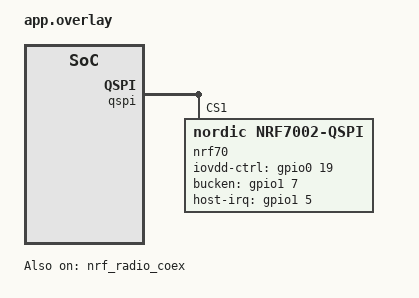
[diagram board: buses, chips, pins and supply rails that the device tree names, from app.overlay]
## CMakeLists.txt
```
#
# Copyright (c) 2022 Nordic Semiconductor ASA
#
# SPDX-License-Identifier: LicenseRef-Nordic-5-Clause
#

cmake_minimum_required(VERSION 3.20.0)

find_package(Zephyr REQUIRED HINTS $ENV{ZEPHYR_BASE})
project(nrf_wifi_sta)

target_include_directories(app PUBLIC ${ZEPHYR_BASE}/subsys/net/ip)

# Generate hex files from pem files
set(gen_dir ${CMAKE_CURRENT_BINARY_DIR}/certs)
zephyr_include_directories(${gen_dir})
generate_inc_file_for_target(
    app
    cert/DigiCertGlobalG3.pem
    ${gen_dir}/DigiCertGlobalG3.pem.inc
    )

target_sources(app PRIVATE
	src/main.c
	src/wifi/wifi_sta.c
	src/wifi/http_app.c
	# Future sensor and BLE files will be added here
	# src/sensors/sensor_fsm.c
	# src/sensors/sensor_data.c
	# src/ble/ble_service.c
	# src/ble/ble_advertising.c
	# src/common/data_manager.c
)
```

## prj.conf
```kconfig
#
# Copyright (c) 2022 Nordic Semiconductor ASA
#
# SPDX-License-Identifier: LicenseRef-Nordic-5-Clause
#
CONFIG_WIFI=y
CONFIG_WIFI_NRF70=y
CONFIG_LOG=y
CONFIG_WIFI_LOG_LEVEL_DBG=y
CONFIG_CLOCK_CONTROL=y
CONFIG_CLOCK_CONTROL_NRF=y
CONFIG_CLOCK_CONTROL_NRF_K32SRC_RC=y
CONFIG_CLOCK_CONTROL_NRF_K32SRC_RC_CALIBRATION=y
CONFIG_CLOCK_CONTROL_NRF_K32SRC_500PPM=y
# CONFIG_CLOCK_CONTROL_NRF_K32SRC_RC=y
# WPA supplicant
CONFIG_WIFI_NM_WPA_SUPPLICANT=y
CONFIG_WIFI_READY_LIB=y
CONFIG_NRF_WIFI_RPU_RECOVERY=y

CONFIG_WIFI_CREDENTIALS=y
CONFIG_WIFI_CREDENTIALS_STATIC=y
CONFIG_WIFI_CREDENTIALS_STATIC_SSID="iPhone"
CONFIG_WIFI_CREDENTIALS_STATIC_PASSWORD="12345678"

# Networking
CONFIG_NETWORKING=y
CONFIG_NET_SOCKETS=y
CONFIG_NET_LOG=y
CONFIG_NET_IPV4=y
CONFIG_NET_UDP=y
CONFIG_NET_TCP=y
CONFIG_NET_DHCPV4=y

CONFIG_NET_PKT_RX_COUNT=16
CONFIG_NET_PKT_TX_COUNT=16
CONFIG_NRF70_RX_NUM_BUFS=16

# Below section is the primary contributor to SRAM and is currently
# tuned for performance, but this will be revisited in the future.
CONFIG_NET_BUF_RX_COUNT=16
CONFIG_NET_BUF_TX_COUNT=32

CONFIG_NET_PKT_TX_COUNT=14
CONFIG_NET_PKT_RX_COUNT=14
CONFIG_NET_TX_STACK_SIZE=4096
CONFIG_NET_RX_STACK_SIZE=4096
CONFIG_HEAP_MEM_POOL_SIZE=37000
CONFIG_HEAP_MEM_POOL_IGNORE_MIN=y
CONFIG_NRF_WIFI_CTRL_HEAP_SIZE=20000
CONFIG_NRF_WIFI_DATA_HEAP_SIZE=40000
CONFIG_NET_TC_TX_COUNT=1

CONFIG_NET_IF_UNICAST_IPV4_ADDR_COUNT=1
CONFIG_NET_MAX_CONTEXTS=5
CONFIG_NET_CONTEXT_SYNC_RECV=y

CONFIG_INIT_STACKS=y

CONFIG_NET_L2_ETHERNET=y

CONFIG_NET_CONFIG_SETTINGS=y
CONFIG_NET_CONFIG_INIT_TIMEOUT=0

CONFIG_NET_SOCKETS_POLL_MAX=10

# Memories
CONFIG_MAIN_STACK_SIZE=30720
CONFIG_NET_TX_STACK_SIZE=4096
CONFIG_NET_RX_STACK_SIZE=4096
CONFIG_STA_SAMPLE_START_WIFI_THREAD_STACK_SIZE=30720

# Debugging
CONFIG_STACK_SENTINEL=y
CONFIG_DEBUG_COREDUMP=y
CONFIG_DEBUG_COREDUMP_BACKEND_LOGGING=y
CONFIG_DEBUG_COREDUMP_MEMORY_DUMP_MIN=y
CONFIG_SHELL_CMDS_RESIZE=n


# Kernel options
CONFIG_ENTROPY_GENERATOR=y

# Logging
CONFIG_LOG=y
CONFIG_LOG_BUFFER_SIZE=4096
CONFIG_POSIX_TIMERS=y

CONFIG_NET_CONFIG_MY_IPV4_ADDR="192.168.1.99"
CONFIG_NET_CONFIG_MY_IPV4_NETMASK="255.255.255.0"
CONFIG_NET_CONFIG_MY_IPV4_GW="192.168.1.1"

# printing of scan results puts pressure on queues in new locking
# design in net_mgmt. So, use a higher timeout for a crowded
# environment.
CONFIG_NET_MGMT_EVENT_QUEUE_TIMEOUT=5000


CONFIG_POSIX_API=y
CONFIG_NET_IPV4=y
CONFIG_NET_IPV6=y

CONFIG_NET_SOCKETS_SOCKOPT_TLS=y

CONFIG_TLS_CREDENTIALS=y
CONFIG_MBEDTLS=y
CONFIG_MBEDTLS_TLS_VERSION_1_3=y

CONFIG_MBEDTLS_SSL_CLI_C=y
CONFIG_MBEDTLS_X509_CRT_PARSE_C=y
CONFIG_MBEDTLS_X509_USE_C=y
CONFIG_NET_SOCKETS_ENABLE_DTLS=n


CONFIG_MBEDTLS_ENABLE_HEAP=y
CONFIG_MBEDTLS_SSL_IN_CONTENT_LEN=8192
CONFIG_MBEDTLS_SSL_OUT_CONTENT_LEN=8192
CONFIG_MBEDTLS_SSL_SERVER_NAME_INDICATION=y
CONFIG_MBEDTLS_HEAP_SIZE=32768
CONFIG_MBEDTLS_RSA_C=y
CONFIG_MBEDTLS_TLS_LIBRARY=y
CONFIG_MBEDTLS_X509_LIBRARY=y
CONFIG_MBEDTLS_PKCS1_V15=y
# CONFIG_NORDIC_SECURITY_BACKEND=y
# CONFIG_PSA_CRYPTO_DRIVER_CC3XX=y
CONFIG_PSA_WANT_ALG_SHA_1=y

CONFIG_PSA_WANT_ALG_RSA_PKCS1V15_CRYPT=y
CONFIG_PSA_WANT_ALG_RSA_PKCS1V15_SIGN=y
CONFIG_PSA_WANT_KEY_TYPE_RSA_PUBLIC_KEY=y
CONFIG_PSA_WANT_ECC_SECP_R1_384=y


# DNS
CONFIG_DNS_RESOLVER=y
CONFIG_DNS_RESOLVER_ADDITIONAL_QUERIES=2

# HTTP
CONFIG_HTTP_CLIENT=y
```

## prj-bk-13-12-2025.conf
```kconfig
#
# Copyright (c) 2022 Nordic Semiconductor ASA
#
# SPDX-License-Identifier: LicenseRef-Nordic-5-Clause
#



CONFIG_WIFI=y
CONFIG_WIFI_NRF70=y
CONFIG_CLOCK_CONTROL_NRF_K32SRC_RC=y

# WPA supplicant
CONFIG_WIFI_NM_WPA_SUPPLICANT=y
CONFIG_WIFI_READY_LIB=y
CONFIG_NRF_WIFI_RPU_RECOVERY=y

CONFIG_WIFI_CREDENTIALS=y
CONFIG_WIFI_CREDENTIALS_STATIC=y
CONFIG_WIFI_CREDENTIALS_STATIC_SSID="MyPi"
CONFIG_WIFI_CREDENTIALS_STATIC_PASSWORD="abcd1234"

# Networking
CONFIG_NETWORKING=y
CONFIG_NET_SOCKETS=y
CONFIG_NET_LOG=y
CONFIG_NET_IPV4=y
CONFIG_NET_UDP=y
CONFIG_NET_TCP=y
CONFIG_NET_DHCPV4=y


CONFIG_NRF70_RX_NUM_BUFS=16

# Below section is the primary contributor to SRAM and is currently
# tuned for performance, but this will be revisited in the future.
CONFIG_NET_BUF_RX_COUNT=8
CONFIG_NET_BUF_TX_COUNT=16

CONFIG_NET_PKT_TX_COUNT=4
CONFIG_NET_PKT_RX_COUNT=4
CONFIG_NET_TX_STACK_SIZE=4096
CONFIG_NET_RX_STACK_SIZE=4096
CONFIG_HEAP_MEM_POOL_SIZE=37000
CONFIG_HEAP_MEM_POOL_IGNORE_MIN=y
CONFIG_NRF_WIFI_CTRL_HEAP_SIZE=20000
CONFIG_NRF_WIFI_DATA_HEAP_SIZE=30000
CONFIG_NET_TC_TX_COUNT=1

CONFIG_NET_IF_UNICAST_IPV4_ADDR_COUNT=1
CONFIG_NET_MAX_CONTEXTS=10
CONFIG_NET_CONTEXT_SYNC_RECV=y

CONFIG_INIT_STACKS=y

CONFIG_NET_L2_ETHERNET=y

CONFIG_NET_CONFIG_SETTINGS=y
CONFIG_NET_CONFIG_INIT_TIMEOUT=0

CONFIG_NET_SOCKETS_POLL_MAX=10

# Memories
CONFIG_MAIN_STACK_SIZE=8192
CONFIG_NET_TX_STACK_SIZE=4096
CONFIG_NET_RX_STACK_SIZE=4096
CONFIG_STA_SAMPLE_START_WIFI_THREAD_STACK_SIZE=8192

# Debugging
CONFIG_STACK_SENTINEL=y
CONFIG_DEBUG_COREDUMP=y
CONFIG_DEBUG_COREDUMP_BACKEND_LOGGING=y
CONFIG_DEBUG_COREDUMP_MEMORY_DUMP_MIN=y
CONFIG_SHELL_CMDS_RESIZE=n


# Kernel options
CONFIG_ENTROPY_GENERATOR=y

# Logging
CONFIG_LOG=y
CONFIG_LOG_BUFFER_SIZE=2048
CONFIG_POSIX_TIMERS=y

CONFIG_NET_CONFIG_MY_IPV4_ADDR="192.168.1.99"
CONFIG_NET_CONFIG_MY_IPV4_NETMASK="255.255.255.0"
CONFIG_NET_CONFIG_MY_IPV4_GW="192.168.1.1"

# printing of scan results puts pressure on queues in new locking
# design in net_mgmt. So, use a higher timeout for a crowded
# environment.
CONFIG_NET_MGMT_EVENT_QUEUE_TIMEOUT=5000


CONFIG_POSIX_API=y
CONFIG_NET_IPV4=y
CONFIG_NET_IPV6=n

CONFIG_NET_SOCKETS_SOCKOPT_TLS=y

CONFIG_TLS_CREDENTIALS=y
CONFIG_MBEDTLS=y
CONFIG_MBEDTLS_TLS_VERSION_1_3=y

CONFIG_MBEDTLS_SSL_CLI_C=y
CONFIG_MBEDTLS_X509_CRT_PARSE_C=y
CONFIG_MBEDTLS_X509_USE_C=y
CONFIG_NET_SOCKETS_ENABLE_DTLS=n

CONFIG_MBEDTLS_ENABLE_HEAP=y
CONFIG_MBEDTLS_SSL_IN_CONTENT_LEN=2048
CONFIG_MBEDTLS_SSL_OUT_CONTENT_LEN=2048
CONFIG_MBEDTLS_SSL_SERVER_NAME_INDICATION=y
CONFIG_MBEDTLS_HEAP_SIZE=8192
CONFIG_MBEDTLS_RSA_C=y
CONFIG_MBEDTLS_TLS_LIBRARY=y
CONFIG_MBEDTLS_X509_LIBRARY=y
CONFIG_MBEDTLS_PKCS1_V15=y
# CONFIG_NORDIC_SECURITY_BACKEND=y
# CONFIG_PSA_CRYPTO_DRIVER_CC3XX=y
CONFIG_PSA_WANT_ALG_SHA_1=y

CONFIG_PSA_WANT_ALG_RSA_PKCS1V15_CRYPT=y
CONFIG_PSA_WANT_ALG_RSA_PKCS1V15_SIGN=y
CONFIG_PSA_WANT_KEY_TYPE_RSA_PUBLIC_KEY=y
CONFIG_PSA_WANT_ECC_SECP_R1_384=y


# DNS
CONFIG_DNS_RESOLVER=y
CONFIG_DNS_RESOLVER_ADDITIONAL_QUERIES=2

# HTTP
CONFIG_HTTP_CLIENT=y
```

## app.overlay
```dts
/{
	chosen {
		zephyr,wifi = &wlan0;
	};

	/delete-node/ aliases;
	/delete-node/ buttons;
	/delete-node/ leds;
};


&pinctrl {
	uart0_default: uart0_default {
		group1 {
			psels = <NRF_PSEL(UART_TX, 0, 9)>,
				<NRF_PSEL(UART_RTS, 0, 1)>;
		};

		group2 {
			psels = <NRF_PSEL(UART_RX, 0, 8)>,
				<NRF_PSEL(UART_CTS, 0, 0)>;
			bias-pull-up;
		};
	};
};


&nrf_radio_coex{
		status = "okay";
		// compatible = "nordic,nrf7002-coex";
		req-gpios = <&gpio0 22 GPIO_ACTIVE_HIGH>;
		status0-gpios = <&gpio0 20 GPIO_ACTIVE_HIGH>;
		grant-gpios = <&gpio1 4 (GPIO_PULL_DOWN | GPIO_ACTIVE_LOW)>;
		// swctrl1-gpios = <&gpio1 6 GPIO_ACTIVE_HIGH>;
	};

&qspi {
	status = "okay";
	nrf70: nrf7002@1 {
		compatible = "nordic,nrf7002-qspi";
		status = "okay";
		reg = <1>;
		qspi-frequency = <24000000>;
		qspi-quad-mode;

		// #include "nrf70_common.dtsi"
		// #include "nrf70_common_5g.dtsi"
		iovdd-power-up-delay-ms = <1>;

		wifi-max-tx-pwr-5g-low-mcs0 = <9>;
		wifi-max-tx-pwr-5g-low-mcs7 = <9>;
		wifi-max-tx-pwr-5g-mid-mcs0 = <11>;
		wifi-max-tx-pwr-5g-mid-mcs7 = <11>;
		wifi-max-tx-pwr-5g-high-mcs0 = <13>;
		wifi-max-tx-pwr-5g-high-mcs7 = <13>;

		iovdd-ctrl-gpios = <&gpio0 19 GPIO_ACTIVE_HIGH>;
		bucken-gpios = <&gpio1 7 GPIO_ACTIVE_HIGH>;
		host-irq-gpios = <&gpio1 5 GPIO_ACTIVE_HIGH>;
		// srrf-switch-gpios = <&gpio0 23 GPIO_ACTIVE_HIGH>;

		wifi-max-tx-pwr-2g-dsss = <21>;
		wifi-max-tx-pwr-2g-mcs0 = <16>;
		wifi-max-tx-pwr-2g-mcs7 = <16>;

		wlan0: wlan {
			compatible = "nordic,wlan";
		};
	};
};


// &spi4 {
//     compatible = "nordic,nrf-spim";
//     status = "okay";
//     pinctrl-0 = <&spi4_default>;
// 	pinctrl-names = "default","sleep";
// 	cs-gpios = <&gpio0 18 GPIO_ACTIVE_LOW>;

//     /* Chip select pin */
   
//     nrf70: nrf7002@1 {
//         compatible = "nordic,nrf7002-spi";
//         reg = <1>;                    /* CS index */
//         spi-max-frequency = <24000000>; /* 8 MHz */
//         status = "okay";

//         // iovdd-ctrl-gpios = <&gpio1 5 GPIO_ACTIVE_HIGH>;
//         // bucken-gpios = <&gpio1 1 GPIO_ACTIVE_HIGH>;
//         // host-irq-gpios = <&gpio1 6 GPIO_ACTIVE_HIGH>;
//         // srrf-switch-gpios = <&gpio1 10 GPIO_ACTIVE_HIGH>;

//         iovdd-power-up-delay-ms = <1>;

// 		wifi-max-tx-pwr-5g-low-mcs0 = <9>;
// 		wifi-max-tx-pwr-5g-low-mcs7 = <9>;
// 		wifi-max-tx-pwr-5g-mid-mcs0 = <11>;
// 		wifi-max-tx-pwr-5g-mid-mcs7 = <11>;
// 		wifi-max-tx-pwr-5g-high-mcs0 = <13>;
// 		wifi-max-tx-pwr-5g-high-mcs7 = <13>;

// 		iovdd-ctrl-gpios = <&gpio0 19 GPIO_ACTIVE_HIGH>;
// 		bucken-gpios = <&gpio1 7 GPIO_ACTIVE_HIGH>;
// 		host-irq-gpios = <&gpio1 5 GPIO_ACTIVE_HIGH>;
// 		srrf-switch-gpios = <&gpio0 23 GPIO_ACTIVE_HIGH>;

// 		wifi-max-tx-pwr-2g-dsss = <21>;
// 		wifi-max-tx-pwr-2g-mcs0 = <16>;
// 		wifi-max-tx-pwr-2g-mcs7 = <16>;

// 		wlan0: wlan {
// 			compatible = "nordic,wlan";
// 		};

// 	};
// };
```

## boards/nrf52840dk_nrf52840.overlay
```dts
/ {
	chosen {
		zephyr,wifi = &wlan0;
	};
};

// &qspi {
// 	status = "okay";
// 	nrf70: nrf7002@0 {
// 		compatible = "nordic,nrf7002-qspi";
// 		status = "okay";
// 		reg = <0>;
// 		qspi-frequency = <24000000>;
// 		qspi-quad-mode;

//         /* Control signals - adjust pins as per wiring */
//         // iovdd-ctrl-gpios = <&gpio0 5 GPIO_ACTIVE_HIGH>;
//         // bucken-gpios     = <&gpio0 6 GPIO_ACTIVE_HIGH>;
//         // host-irq-gpios   = <&gpio0 11 GPIO_ACTIVE_HIGH>;

//         iovdd-power-up-delay-ms = <1>;
//         #include "nrf70_common.dtsi"
// 		#include "nrf70_common_5g.dtsi"
        
       

//     };
// };


&spi1 {
    compatible = "nordic,nrf-spi";
    status = "okay";
    pinctrl-0 = <&spi0_default>;

    /* Chip select pin */
    cs-gpios = <&gpio0 2 GPIO_ACTIVE_LOW>;
    nrf70: nrf7002@0 {
        compatible = "nordic,nrf7002-spi";
        reg = <0>;                    /* CS index */
        spi-max-frequency = <24000000>; /* 8 MHz */
        status = "okay";

        iovdd-ctrl-gpios = <&gpio1 5 GPIO_ACTIVE_HIGH>;
        bucken-gpios = <&gpio1 1 GPIO_ACTIVE_HIGH>;
        host-irq-gpios = <&gpio1 6 GPIO_ACTIVE_HIGH>;
        srrf-switch-gpios = <&gpio1 10 GPIO_ACTIVE_HIGH>;

        iovdd-power-up-delay-ms = <1>;

        #include "nrf70_common.dtsi"
        #include "nrf70_common_5g.dtsi"
    };
};

// wlan0: wlan {
// 	compatible = "nordic,wlan";
// };

&usbd {
	status = "disabled";
};
```

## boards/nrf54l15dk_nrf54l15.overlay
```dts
/ {
	chosen {
		zephyr,wifi = &wlan0;
	};
};

&pinctrl{
spi22_default: spi22_default {
		group1 {
			psels = <NRF_PSEL(SPIM_SCK, 2, 1)>,
				<NRF_PSEL(SPIM_MOSI, 2, 2)>,
				<NRF_PSEL(SPIM_MISO, 2, 4)>;
		};
	};
};

&wifi_spi {
	status = "okay";
	pinctrl-0 = <&spi22_default>;
	pinctrl-names= "default";
    nrf70: nrf7002@0 {
        compatible = "nordic,nrf7002-spi";
        reg = <0>;                    /* CS index */
        spi-max-frequency = <24000000>; /* 8 MHz */
        status = "okay";

        iovdd-ctrl-gpios = <&gpio1 5 GPIO_ACTIVE_HIGH>;
        bucken-gpios = <&gpio1 1 GPIO_ACTIVE_HIGH>;
        host-irq-gpios = <&gpio1 6 GPIO_ACTIVE_HIGH>;
        srrf-switch-gpios = <&gpio1 10 GPIO_ACTIVE_HIGH>;

        iovdd-power-up-delay-ms = <1>;

        #include "nrf70_common.dtsi"
        #include "nrf70_common_5g.dtsi"
    };
};

// &wifi_spi{
//     /* Chip select pin */
//     cs-gpios = <&gpio0 2 GPIO_ACTIVE_LOW>;
//     nrf70: nrf7002@0 {
//         compatible = "nordic,nrf7002-spi";
//         reg = <0>;                    /* CS index */
//         spi-max-frequency = <24000000>; /* 8 MHz */
//         status = "okay";

//         iovdd-ctrl-gpios = <&gpio1 5 GPIO_ACTIVE_HIGH>;
//         bucken-gpios = <&gpio1 1 GPIO_ACTIVE_HIGH>;
//         host-irq-gpios = <&gpio1 6 GPIO_ACTIVE_HIGH>;
//         srrf-switch-gpios = <&gpio1 10 GPIO_ACTIVE_HIGH>;

//         iovdd-power-up-delay-ms = <1>;

//         #include "nrf70_common.dtsi"
//         #include "nrf70_common_5g.dtsi"
//     };
// };
```

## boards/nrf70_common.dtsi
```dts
/*
 * Copyright (c) 2024 Nordic Semiconductor ASA
 *
 * SPDX-License-Identifier: Apache-2.0
 */

iovdd-ctrl-gpios = <&gpio0 19 GPIO_ACTIVE_HIGH>;
bucken-gpios = <&gpio1 7 GPIO_ACTIVE_HIGH>;
host-irq-gpios = <&gpio1 5 GPIO_ACTIVE_HIGH>;
srrf-switch-gpios = <&gpio0 23 GPIO_ACTIVE_HIGH>;

wifi-max-tx-pwr-2g-dsss = <21>;
wifi-max-tx-pwr-2g-mcs0 = <16>;
wifi-max-tx-pwr-2g-mcs7 = <16>;

wlan0: wlan {
	compatible = "nordic,wlan";
};
```

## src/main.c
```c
/*
 * Copyright (c) 2022 Nordic Semiconductor ASA
 *
 * SPDX-License-Identifier: LicenseRef-Nordic-5-Clause
 */

/** @file
 * @brief HopeWatch Multi-Service Device Main
 */

#include <zephyr/logging/log.h>
LOG_MODULE_REGISTER(main_app, CONFIG_LOG_DEFAULT_LEVEL);

#include <zephyr/kernel.h>
#include <zephyr/sys/printk.h>

#include "wifi/wifi_sta.h"
// #include "sensors/sensor_fsm.h"
// #include "ble/ble_service.h"
// #include "common/data_manager.h"

/* Thread definitions */
K_THREAD_DEFINE(wifi_thread, CONFIG_STA_SAMPLE_START_WIFI_THREAD_STACK_SIZE, 
		wifi_thread_entry, NULL, NULL, NULL, 5, 0, 0);
// K_THREAD_DEFINE(sensor_thread, 2048, sensor_thread_entry, NULL, NULL, NULL, 6, 0, 0);
// K_THREAD_DEFINE(ble_thread, 2048, ble_thread_entry, NULL, NULL, NULL, 7, 0, 0);

int main(void)
{
	printk("==================================================\n");
	printk("HopeWatch Multi-Service Device Starting...\n");
	printk("nRF7002DK - WiFi + Sensor + BLE Integration\n");
	printk("==================================================\n");
	
	/* Initialize subsystems */
	wifi_sta_init();
	// data_manager_init();
	// sensor_fsm_init();
	// ble_service_init();
	
	/* Register data flow callbacks (for future integration) */
	// data_manager_register_wifi_callback(http_app_send_data);
	// data_manager_register_ble_callback(ble_notify_data);
	
	LOG_INF("All subsystems initialized");
	LOG_INF("WiFi Thread will start automatically");
	
	/* Main thread can handle system monitoring or go to sleep */
	while (1) {
		k_sleep(K_SECONDS(10));
		LOG_INF("System running - WiFi connected: %s", got_ip ? "Yes" : "No");
	}
	
	return 0;
}
```

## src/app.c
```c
/*
 * Copyright (c) 2022 Nordic Semiconductor ASA
 *
 * SPDX-License-Identifier: LicenseRef-Nordic-5-Clause
 */

/** @file
 * @brief WiFi station sample
 */

#include <zephyr/logging/log.h>
LOG_MODULE_REGISTER(sta, CONFIG_LOG_DEFAULT_LEVEL);

#include <zephyr/kernel.h>
#include <stdio.h>
#include <stdlib.h>
#include <zephyr/shell/shell.h>
#include <zephyr/sys/printk.h>
#include <zephyr/init.h>

#include <zephyr/net/net_if.h>
#include <zephyr/net/wifi_mgmt.h>
#include <zephyr/net/net_event.h>
#include <zephyr/drivers/gpio.h>
#include <zephyr/net/socket.h>
#include <zephyr/net/tls_credentials.h>
/* STEP 1.2 - Include the header file of the HTTP client library */
#include <zephyr/net/http/client.h>
#ifdef CONFIG_WIFI_READY_LIB
#include <net/wifi_ready.h>
#endif /* CONFIG_WIFI_READY_LIB */

#if defined(CONFIG_BOARD_NRF7002DK_NRF5340_CPUAPP_NRF7001) || \
	defined(CONFIG_BOARD_NRF7002DK_NRF5340_CPUAPP)
#include <zephyr/drivers/wifi/nrf_wifi/bus/qspi_if.h>
#endif

#include "net_private.h"

#include "http_app.h"

#define WIFI_SHELL_MODULE "wifi"

#define WIFI_SHELL_MGMT_EVENTS (NET_EVENT_WIFI_CONNECT_RESULT |		\
				NET_EVENT_WIFI_DISCONNECT_RESULT)

#define MAX_SSID_LEN        32
#define STATUS_POLLING_MS   300

/* 1000 msec = 1 sec */
#define LED_SLEEP_TIME_MS   100

/* The devicetree node identifier for the "led0" alias. */
// #define LED0_NODE DT_ALIAS(led0)
/*
 * A build error on this line means your board is unsupported.
 * See the sample documentation for information on how to fix this.
 */
// static const struct gpio_dt_spec led = GPIO_DT_SPEC_GET(LED0_NODE, gpios);

static struct net_mgmt_event_callback wifi_shell_mgmt_cb;
static struct net_mgmt_event_callback net_shell_mgmt_cb;

#ifdef CONFIG_WIFI_READY_LIB
static K_SEM_DEFINE(wifi_ready_state_changed_sem, 0, 1);
static bool wifi_ready_status;
#endif /* CONFIG_WIFI_READY_LIB */

static struct {
	const struct shell *sh;
	union {
		struct {
			uint8_t connected	: 1;
			uint8_t connect_result	: 1;
			uint8_t disconnect_requested	: 1;
			uint8_t _unused		: 5;
		};
		uint8_t all;
	};
} context;


K_THREAD_DEFINE(start_http_thread_id, 10240,
		start_http_thread, NULL, NULL, NULL,
		7, 0, -1);

//_____________Toggle_LED________________________
void toggle_led(void)
{
	int ret;

	// if (!device_is_ready(led.port)) {
	// 	LOG_ERR("LED device is not ready");
	// 	return;
	// }

	// ret = gpio_pin_configure_dt(&led, GPIO_OUTPUT_ACTIVE);
	// if (ret < 0) {
	// 	LOG_ERR("Error %d: failed to configure LED pin", ret);
	// 	return;
	// }

	while (1) {
		if (context.connected) {
			// gpio_pin_toggle_dt(&led);
			// printk("connected");
			k_msleep(LED_SLEEP_TIME_MS);
		} else {
			// gpio_pin_set_dt(&led, 0);
			// printk("dis connected");
			k_msleep(LED_SLEEP_TIME_MS);
		}
	}
}

// K_THREAD_DEFINE(led_thread_id, 1024, toggle_led, NULL, NULL, NULL,
// 		7, 0, 0);
//_____________Toggle_LED________________________________________________

static int cmd_wifi_status(void)
{
	struct net_if *iface = net_if_get_default();
	struct wifi_iface_status status = { 0 };

	if (net_mgmt(NET_REQUEST_WIFI_IFACE_STATUS, iface, &status,
				sizeof(struct wifi_iface_status))) {
		LOG_INF("Status request failed");

		return -ENOEXEC;
	}

	LOG_INF("==================");
	LOG_INF("State: %s", wifi_state_txt(status.state));

	if (status.state >= WIFI_STATE_ASSOCIATED) {
		uint8_t mac_string_buf[sizeof("xx:xx:xx:xx:xx:xx")];

		LOG_INF("Interface Mode: %s",
		       wifi_mode_txt(status.iface_mode));
		LOG_INF("Link Mode: %s",
		       wifi_link_mode_txt(status.link_mode));
		LOG_INF("SSID: %.32s", status.ssid);
		LOG_INF("BSSID: %s",
		       net_sprint_ll_addr_buf(
				status.bssid, WIFI_MAC_ADDR_LEN,
				mac_string_buf, sizeof(mac_string_buf)));
		LOG_INF("Band: %s", wifi_band_txt(status.band));
		LOG_INF("Channel: %d", status.channel);
		LOG_INF("Security: %s", wifi_security_txt(status.security));
		LOG_INF("MFP: %s", wifi_mfp_txt(status.mfp));
		LOG_INF("RSSI: %d", status.rssi);
	}
	return 0;
}

static void handle_wifi_connect_result(struct net_mgmt_event_callback *cb)
{
	const struct wifi_status *status =
		(const struct wifi_status *) cb->info;

	if (context.connected) {
		return;
	}

	if (status->status) {
		LOG_ERR("Connection failed (%d)", status->status);
	} else {
		LOG_INF("Connected");
		context.connected = true;
		
	}

	context.connect_result = true;
}

static void handle_wifi_disconnect_result(struct net_mgmt_event_callback *cb)
{
	const struct wifi_status *status =
		(const struct wifi_status *) cb->info;

	if (!context.connected) {
		return;
	}

	if (context.disconnect_requested) {
		LOG_INF("Disconnection request %s (%d)",
			 status->status ? "failed" : "done",
					status->status);
		context.disconnect_requested = false;
	} else {
		LOG_INF("Received Disconnected");
		context.connected = false;
	}

	cmd_wifi_status();
}

static void wifi_mgmt_event_handler(struct net_mgmt_event_callback *cb,
				     uint32_t mgmt_event, struct net_if *iface)
{
	switch (mgmt_event) {
	case NET_EVENT_WIFI_CONNECT_RESULT:
		handle_wifi_connect_result(cb);
		break;
	case NET_EVENT_WIFI_DISCONNECT_RESULT:
		handle_wifi_disconnect_result(cb);
		got_ip = false;
		break;
	default:
		break;
	}
}

static void print_dhcp_ip(struct net_mgmt_event_callback *cb)
{
	/* Get DHCP info from struct net_if_dhcpv4 and print */
	const struct net_if_dhcpv4 *dhcpv4 = cb->info;
	const struct in_addr *addr = &dhcpv4->requested_ip;
	char dhcp_info[128];

	net_addr_ntop(AF_INET, addr, dhcp_info, sizeof(dhcp_info));

	LOG_INF("DHCP IP address: %s", dhcp_info);
}
static void net_mgmt_event_handler(struct net_mgmt_event_callback *cb,
				    uint32_t mgmt_event, struct net_if *iface)
{
	switch (mgmt_event) {
	case NET_EVENT_IPV4_DHCP_BOUND:
		print_dhcp_ip(cb);
		got_ip = true;	
		break;
	default:
		break;
	}
}

static int wifi_connect(void)
{
	struct net_if *iface = net_if_get_first_wifi();

	context.connected = false;
	context.connect_result = false;

	if (net_mgmt(NET_REQUEST_WIFI_CONNECT_STORED, iface, NULL, 0)) {
		LOG_ERR("Connection request failed");

		return -ENOEXEC;
	}

	LOG_INF("Connection requested");

	return 0;
}

int bytes_from_str(const char *str, uint8_t *bytes, size_t bytes_len)
{
	size_t i;
	char byte_str[3];

	if (strlen(str) != bytes_len * 2) {
		LOG_ERR("Invalid string length: %zu (expected: %d)\n",
			strlen(str), bytes_len * 2);
		return -EINVAL;
	}

	for (i = 0; i < bytes_len; i++) {
		memcpy(byte_str, str + i * 2, 2);
		byte_str[2] = '\0';
		bytes[i] = strtol(byte_str, NULL, 16);
	}

	return 0;
}

int start_app(void)
{
#if defined(CONFIG_BOARD_NRF7002DK_NRF5340_CPUAPP_NRF7001) || \
	defined(CONFIG_BOARD_NRF7002DK_NRF5340_CPUAPP)
	if (strlen(CONFIG_NRF70_QSPI_ENCRYPTION_KEY)) {
		int ret;
		char key[QSPI_KEY_LEN_BYTES];

		ret = bytes_from_str(CONFIG_NRF70_QSPI_ENCRYPTION_KEY, key, sizeof(key));
		if (ret) {
			LOG_ERR("Failed to parse encryption key: %d\n", ret);
			return 0;
		}

		LOG_DBG("QSPI Encryption key: ");
		for (int i = 0; i < QSPI_KEY_LEN_BYTES; i++) {
			LOG_DBG("%02x", key[i]);
		}
		LOG_DBG("\n");

		ret = qspi_enable_encryption(key);
		if (ret) {
			LOG_ERR("Failed to enable encryption: %d\n", ret);
			return 0;
		}
		LOG_INF("QSPI Encryption enabled");
	} else {
		LOG_INF("QSPI Encryption disabled");
	}
#endif /* CONFIG_BOARD_NRF7002DK_NRF5340_CPUAPP_NRF7001 || CONFIG_BOARD_NRF7002DK_NRF5340_CPUAPP */

	LOG_INF("Static IP address (overridable): %s/%s -> %s",
		CONFIG_NET_CONFIG_MY_IPV4_ADDR,
		CONFIG_NET_CONFIG_MY_IPV4_NETMASK,
		CONFIG_NET_CONFIG_MY_IPV4_GW);

	while (1) {
#ifdef CONFIG_WIFI_READY_LIB
		int ret;

		LOG_INF("Waiting for Wi-Fi to be ready");
		ret = k_sem_take(&wifi_ready_state_changed_sem, K_FOREVER);
		if (ret) {
			LOG_ERR("Failed to take semaphore: %d", ret);
			return ret;
		}

check_wifi_ready:
		if (!wifi_ready_status) {
			LOG_INF("Wi-Fi is not ready");
			/* Perform any cleanup and stop using Wi-Fi and wait for
			 * Wi-Fi to be ready
			 */
			continue;
		}
#endif /* CONFIG_WIFI_READY_LIB */
		wifi_connect();

		while (!context.connect_result) {
			cmd_wifi_status();
			k_sleep(K_MSEC(STATUS_POLLING_MS));
		}

		if (context.connected) {
			cmd_wifi_status();
#ifdef CONFIG_WIFI_READY_LIB
			ret = k_sem_take(&wifi_ready_state_changed_sem, K_FOREVER);
			if (ret) {
				LOG_ERR("Failed to take semaphore: %d", ret);
				return ret;
			}
			goto check_wifi_ready;
#else
			k_sleep(K_FOREVER);
#endif /* CONFIG_WIFI_READY_LIB */
		}
	}

	return 0;
}

#ifdef CONFIG_WIFI_READY_LIB
void start_wifi_thread(void);
#define THREAD_PRIORITY K_PRIO_COOP(CONFIG_NUM_COOP_PRIORITIES - 1)
K_THREAD_DEFINE(start_wifi_thread_id, CONFIG_STA_SAMPLE_START_WIFI_THREAD_STACK_SIZE,
		start_wifi_thread, NULL, NULL, NULL,
		THREAD_PRIORITY, 0, -1);

void start_wifi_thread(void)
{
	start_app();
}

void wifi_ready_cb(bool wifi_ready)
{
	LOG_DBG("Is Wi-Fi ready?: %s", wifi_ready ? "yes" : "no");
	wifi_ready_status = wifi_ready;
	k_sem_give(&wifi_ready_state_changed_sem);
}
#endif /* CONFIG_WIFI_READY_LIB */

void net_mgmt_callback_init(void)
{
	memset(&context, 0, sizeof(context));

	net_mgmt_init_event_callback(&wifi_shell_mgmt_cb,
				     wifi_mgmt_event_handler,
				     WIFI_SHELL_MGMT_EVENTS);

	net_mgmt_add_event_callback(&wifi_shell_mgmt_cb);

	net_mgmt_init_event_callback(&net_shell_mgmt_cb,
				     net_mgmt_event_handler,
				     NET_EVENT_IPV4_DHCP_BOUND);

	net_mgmt_add_event_callback(&net_shell_mgmt_cb);

	LOG_INF("Starting %s with CPU frequency: %d MHz", CONFIG_BOARD, SystemCoreClock/MHZ(1));
	k_sleep(K_SECONDS(1));
}

#ifdef CONFIG_WIFI_READY_LIB
static int register_wifi_ready(void)
{
	int ret = 0;
	wifi_ready_callback_t cb;
	struct net_if *iface = net_if_get_first_wifi();

	if (!iface) {
		LOG_ERR("Failed to get Wi-Fi interface");
		return -1;
	}

	cb.wifi_ready_cb = wifi_ready_cb;

	LOG_DBG("Registering Wi-Fi ready callbacks");
	ret = register_wifi_ready_callback(cb, iface);
	if (ret) {
		LOG_ERR("Failed to register Wi-Fi ready callbacks %s", strerror(ret));
		return ret;
	}

	return ret;
}
#endif /* CONFIG_WIFI_READY_LIB */

int main(void)
{
	int ret = 0;

	net_mgmt_callback_init();
	// register_certificate();
	k_thread_start(start_http_thread_id);
	#ifdef CONFIG_WIFI_READY_LIB
		ret = register_wifi_ready();
		if (ret) {
			return ret;
		}
		k_thread_start(start_wifi_thread_id);
	#else
		start_app();

	#endif /* CONFIG_WIFI_READY_LIB */
		return ret;
}
```

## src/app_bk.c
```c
/*
 * Copyright (c) 2022 Nordic Semiconductor ASA
 *
 * SPDX-License-Identifier: LicenseRef-Nordic-5-Clause
 */

/** @file
 * @brief WiFi station sample
 */

#include <zephyr/logging/log.h>
LOG_MODULE_REGISTER(sta, CONFIG_LOG_DEFAULT_LEVEL);

#include <zephyr/kernel.h>
#include <stdio.h>
#include <stdlib.h>
#include <zephyr/shell/shell.h>
#include <zephyr/sys/printk.h>
#include <zephyr/init.h>

#include <zephyr/net/net_if.h>
#include <zephyr/net/wifi_mgmt.h>
#include <zephyr/net/net_event.h>
#include <zephyr/drivers/gpio.h>
#include <zephyr/net/socket.h>
#include <zephyr/net/tls_credentials.h>
/* STEP 1.2 - Include the header file of the HTTP client library */
#include <zephyr/net/http/client.h>
#ifdef CONFIG_WIFI_READY_LIB
#include <net/wifi_ready.h>
#endif /* CONFIG_WIFI_READY_LIB */

#if defined(CONFIG_BOARD_NRF7002DK_NRF5340_CPUAPP_NRF7001) || \
	defined(CONFIG_BOARD_NRF7002DK_NRF5340_CPUAPP)
#include <zephyr/drivers/wifi/nrf_wifi/bus/qspi_if.h>
#endif

#include "net_private.h"

#define WIFI_SHELL_MODULE "wifi"

#define WIFI_SHELL_MGMT_EVENTS (NET_EVENT_WIFI_CONNECT_RESULT |		\
				NET_EVENT_WIFI_DISCONNECT_RESULT)

#define MAX_SSID_LEN        32
#define STATUS_POLLING_MS   300

/* 1000 msec = 1 sec */
#define LED_SLEEP_TIME_MS   100

/* The devicetree node identifier for the "led0" alias. */
#define LED0_NODE DT_ALIAS(led0)
/*
 * A build error on this line means your board is unsupported.
 * See the sample documentation for information on how to fix this.
 */
static const struct gpio_dt_spec led = GPIO_DT_SPEC_GET(LED0_NODE, gpios);

static struct net_mgmt_event_callback wifi_shell_mgmt_cb;
static struct net_mgmt_event_callback net_shell_mgmt_cb;

#ifdef CONFIG_WIFI_READY_LIB
static K_SEM_DEFINE(wifi_ready_state_changed_sem, 0, 1);
static bool wifi_ready_status;
#endif /* CONFIG_WIFI_READY_LIB */

static struct {
	const struct shell *sh;
	union {
		struct {
			uint8_t connected	: 1;
			uint8_t connect_result	: 1;
			uint8_t disconnect_requested	: 1;
			uint8_t _unused		: 5;
		};
		uint8_t all;
	};
} context;

volatile bool got_ip = false;

#define RECV_BUF_SIZE 4096
char recv_buf[RECV_BUF_SIZE];

#if 0
char root_ca [] ="";
#else
static const char root_ca[] = {
	#include "DigiCertGlobalG3.pem.inc"

	/* Null terminate certificate if running Mbed TLS on the application core.
	 * Required by TLS credentials API.
	 */
	IF_ENABLED(CONFIG_TLS_CREDENTIALS, (0x00))
};
#endif

static void do_http_post(void);
static void send_http_request(void);
static int send_http_token_req(void);
void send_patient_data();
int resolve_server(void);
void register_certificate(void);
void start_http_thread();
static int client_http_get(void);
static int client_http_post_data(void);

K_THREAD_DEFINE(start_http_thread_id, CONFIG_STA_SAMPLE_START_WIFI_THREAD_STACK_SIZE,
		start_http_thread, NULL, NULL, NULL,
		7, 0, -1);

void toggle_led(void)
{
	int ret;

	if (!device_is_ready(led.port)) {
		LOG_ERR("LED device is not ready");
		return;
	}

	ret = gpio_pin_configure_dt(&led, GPIO_OUTPUT_ACTIVE);
	if (ret < 0) {
		LOG_ERR("Error %d: failed to configure LED pin", ret);
		return;
	}

	while (1) {
		if (context.connected) {
			gpio_pin_toggle_dt(&led);
			k_msleep(LED_SLEEP_TIME_MS);
		} else {
			gpio_pin_set_dt(&led, 0);
			k_msleep(LED_SLEEP_TIME_MS);
		}
	}
}

K_THREAD_DEFINE(led_thread_id, 1024, toggle_led, NULL, NULL, NULL,
		7, 0, 0);

static int cmd_wifi_status(void)
{
	struct net_if *iface = net_if_get_default();
	struct wifi_iface_status status = { 0 };

	if (net_mgmt(NET_REQUEST_WIFI_IFACE_STATUS, iface, &status,
				sizeof(struct wifi_iface_status))) {
		LOG_INF("Status request failed");

		return -ENOEXEC;
	}

	LOG_INF("==================");
	LOG_INF("State: %s", wifi_state_txt(status.state));

	if (status.state >= WIFI_STATE_ASSOCIATED) {
		uint8_t mac_string_buf[sizeof("xx:xx:xx:xx:xx:xx")];

		LOG_INF("Interface Mode: %s",
		       wifi_mode_txt(status.iface_mode));
		LOG_INF("Link Mode: %s",
		       wifi_link_mode_txt(status.link_mode));
		LOG_INF("SSID: %.32s", status.ssid);
		LOG_INF("BSSID: %s",
		       net_sprint_ll_addr_buf(
				status.bssid, WIFI_MAC_ADDR_LEN,
				mac_string_buf, sizeof(mac_string_buf)));
		LOG_INF("Band: %s", wifi_band_txt(status.band));
		LOG_INF("Channel: %d", status.channel);
		LOG_INF("Security: %s", wifi_security_txt(status.security));
		LOG_INF("MFP: %s", wifi_mfp_txt(status.mfp));
		LOG_INF("RSSI: %d", status.rssi);
	}
	return 0;
}

static void handle_wifi_connect_result(struct net_mgmt_event_callback *cb)
{
	const struct wifi_status *status =
		(const struct wifi_status *) cb->info;

	if (context.connected) {
		return;
	}

	if (status->status) {
		LOG_ERR("Connection failed (%d)", status->status);
	} else {
		LOG_INF("Connected");
		context.connected = true;
		
	}

	context.connect_result = true;
}

static void handle_wifi_disconnect_result(struct net_mgmt_event_callback *cb)
{
	const struct wifi_status *status =
		(const struct wifi_status *) cb->info;

	if (!context.connected) {
		return;
	}

	if (context.disconnect_requested) {
		LOG_INF("Disconnection request %s (%d)",
			 status->status ? "failed" : "done",
					status->status);
		context.disconnect_requested = false;
	} else {
		LOG_INF("Received Disconnected");
		context.connected = false;
	}

	cmd_wifi_status();
}

static void wifi_mgmt_event_handler(struct net_mgmt_event_callback *cb,
				     uint32_t mgmt_event, struct net_if *iface)
{
	switch (mgmt_event) {
	case NET_EVENT_WIFI_CONNECT_RESULT:
		handle_wifi_connect_result(cb);
		break;
	case NET_EVENT_WIFI_DISCONNECT_RESULT:
		handle_wifi_disconnect_result(cb);
		got_ip = false;
		break;
	default:
		break;
	}
}

static void print_dhcp_ip(struct net_mgmt_event_callback *cb)
{
	/* Get DHCP info from struct net_if_dhcpv4 and print */
	const struct net_if_dhcpv4 *dhcpv4 = cb->info;
	const struct in_addr *addr = &dhcpv4->requested_ip;
	char dhcp_info[128];

	net_addr_ntop(AF_INET, addr, dhcp_info, sizeof(dhcp_info));

	LOG_INF("DHCP IP address: %s", dhcp_info);
}
static void net_mgmt_event_handler(struct net_mgmt_event_callback *cb,
				    uint32_t mgmt_event, struct net_if *iface)
{
	switch (mgmt_event) {
	case NET_EVENT_IPV4_DHCP_BOUND:
		print_dhcp_ip(cb);
		got_ip = true;
		// // do_http_post();
		// // send_http_request();
		// send_http_token_req();
		
		break;
	default:
		break;
	}
}

static int wifi_connect(void)
{
	struct net_if *iface = net_if_get_first_wifi();

	context.connected = false;
	context.connect_result = false;

	if (net_mgmt(NET_REQUEST_WIFI_CONNECT_STORED, iface, NULL, 0)) {
		LOG_ERR("Connection request failed");

		return -ENOEXEC;
	}

	LOG_INF("Connection requested");

	return 0;
}

int bytes_from_str(const char *str, uint8_t *bytes, size_t bytes_len)
{
	size_t i;
	char byte_str[3];

	if (strlen(str) != bytes_len * 2) {
		LOG_ERR("Invalid string length: %zu (expected: %d)\n",
			strlen(str), bytes_len * 2);
		return -EINVAL;
	}

	for (i = 0; i < bytes_len; i++) {
		memcpy(byte_str, str + i * 2, 2);
		byte_str[2] = '\0';
		bytes[i] = strtol(byte_str, NULL, 16);
	}

	return 0;
}

int start_app(void)
{
#if defined(CONFIG_BOARD_NRF7002DK_NRF5340_CPUAPP_NRF7001) || \
	defined(CONFIG_BOARD_NRF7002DK_NRF5340_CPUAPP)
	if (strlen(CONFIG_NRF70_QSPI_ENCRYPTION_KEY)) {
		int ret;
		char key[QSPI_KEY_LEN_BYTES];

		ret = bytes_from_str(CONFIG_NRF70_QSPI_ENCRYPTION_KEY, key, sizeof(key));
		if (ret) {
			LOG_ERR("Failed to parse encryption key: %d\n", ret);
			return 0;
		}

		LOG_DBG("QSPI Encryption key: ");
		for (int i = 0; i < QSPI_KEY_LEN_BYTES; i++) {
			LOG_DBG("%02x", key[i]);
		}
		LOG_DBG("\n");

		ret = qspi_enable_encryption(key);
		if (ret) {
			LOG_ERR("Failed to enable encryption: %d\n", ret);
			return 0;
		}
		LOG_INF("QSPI Encryption enabled");
	} else {
		LOG_INF("QSPI Encryption disabled");
	}
#endif /* CONFIG_BOARD_NRF7002DK_NRF5340_CPUAPP_NRF7001 || CONFIG_BOARD_NRF7002DK_NRF5340_CPUAPP */

	LOG_INF("Static IP address (overridable): %s/%s -> %s",
		CONFIG_NET_CONFIG_MY_IPV4_ADDR,
		CONFIG_NET_CONFIG_MY_IPV4_NETMASK,
		CONFIG_NET_CONFIG_MY_IPV4_GW);

	while (1) {
#ifdef CONFIG_WIFI_READY_LIB
		int ret;

		LOG_INF("Waiting for Wi-Fi to be ready");
		ret = k_sem_take(&wifi_ready_state_changed_sem, K_FOREVER);
		if (ret) {
			LOG_ERR("Failed to take semaphore: %d", ret);
			return ret;
		}

check_wifi_ready:
		if (!wifi_ready_status) {
			LOG_INF("Wi-Fi is not ready");
			/* Perform any cleanup and stop using Wi-Fi and wait for
			 * Wi-Fi to be ready
			 */
			continue;
		}
#endif /* CONFIG_WIFI_READY_LIB */
		wifi_connect();

		while (!context.connect_result) {
			cmd_wifi_status();
			k_sleep(K_MSEC(STATUS_POLLING_MS));
		}

		if (context.connected) {
			cmd_wifi_status();
#ifdef CONFIG_WIFI_READY_LIB
			ret = k_sem_take(&wifi_ready_state_changed_sem, K_FOREVER);
			if (ret) {
				LOG_ERR("Failed to take semaphore: %d", ret);
				return ret;
			}
			goto check_wifi_ready;
#else
			k_sleep(K_FOREVER);
#endif /* CONFIG_WIFI_READY_LIB */
		}
	}

	return 0;
}

#ifdef CONFIG_WIFI_READY_LIB
void start_wifi_thread(void);
#define THREAD_PRIORITY K_PRIO_COOP(CONFIG_NUM_COOP_PRIORITIES - 1)
K_THREAD_DEFINE(start_wifi_thread_id, CONFIG_STA_SAMPLE_START_WIFI_THREAD_STACK_SIZE,
		start_wifi_thread, NULL, NULL, NULL,
		THREAD_PRIORITY, 0, -1);

void start_wifi_thread(void)
{
	start_app();
}

void wifi_ready_cb(bool wifi_ready)
{
	LOG_DBG("Is Wi-Fi ready?: %s", wifi_ready ? "yes" : "no");
	wifi_ready_status = wifi_ready;
	k_sem_give(&wifi_ready_state_changed_sem);
}
#endif /* CONFIG_WIFI_READY_LIB */

void net_mgmt_callback_init(void)
{
	memset(&context, 0, sizeof(context));

	net_mgmt_init_event_callback(&wifi_shell_mgmt_cb,
				     wifi_mgmt_event_handler,
				     WIFI_SHELL_MGMT_EVENTS);

	net_mgmt_add_event_callback(&wifi_shell_mgmt_cb);

	net_mgmt_init_event_callback(&net_shell_mgmt_cb,
				     net_mgmt_event_handler,
				     NET_EVENT_IPV4_DHCP_BOUND);

	net_mgmt_add_event_callback(&net_shell_mgmt_cb);

	LOG_INF("Starting %s with CPU frequency: %d MHz", CONFIG_BOARD, SystemCoreClock/MHZ(1));
	k_sleep(K_SECONDS(1));
}

#ifdef CONFIG_WIFI_READY_LIB
static int register_wifi_ready(void)
{
	int ret = 0;
	wifi_ready_callback_t cb;
	struct net_if *iface = net_if_get_first_wifi();

	if (!iface) {
		LOG_ERR("Failed to get Wi-Fi interface");
		return -1;
	}

	cb.wifi_ready_cb = wifi_ready_cb;

	LOG_DBG("Registering Wi-Fi ready callbacks");
	ret = register_wifi_ready_callback(cb, iface);
	if (ret) {
		LOG_ERR("Failed to register Wi-Fi ready callbacks %s", strerror(ret));
		return ret;
	}

	return ret;
}
#endif /* CONFIG_WIFI_READY_LIB */

int main(void)
{
	int ret = 0;

	net_mgmt_callback_init();
	// register_certificate();
k_thread_start(start_http_thread_id);
#ifdef CONFIG_WIFI_READY_LIB
	ret = register_wifi_ready();
	if (ret) {
		return ret;
	}
	k_thread_start(start_wifi_thread_id);
#else
	
	start_app();

#endif /* CONFIG_WIFI_READY_LIB */
	return ret;
}

//____________________ HTTP Application _________________________


#define HTTP_HOST "api1.prescoipd.com"
#define HTTP_PORT 443
#define LOGIN_PATH "/api/login"

/* Login credentials */
#define USERNAME "hope_watch"
#define PASSWORD "HopeWatch@2025"

uint8_t http_state = 0;

void start_http_thread()
{
	printk("\r \tstart_http_thread\t \r\n");
	register_certificate();
	
	while(1)
	{
		while(!got_ip){
			k_sleep(K_MSEC(1000));
			http_state = 0;
		}
client_http_get();
client_http_post_data();
		// switch (http_state)
		// {
		// case 0 :
		// 	/* code */
		// 	printk("\r\nresolve_server()");
		// 	resolve_server();
		// 	http_state = 1;
		// 	break;
		// case 1:
		// 	printk("\r\nsend_http_token_req");
		// 	send_http_token_req();
		// 	http_state = 2;
		// case 2:
		// 	printk("\r\nsend_patient_data\r\n");
		// 	send_patient_data();
		// default:
		// 	break;
		// }
		k_sleep(K_MSEC(10000));
	}
}

void register_certificate(void)
{
	/* Security tag that we have provisioned the certificate with */

	int ret = tls_credential_add(1, TLS_CREDENTIAL_CA_CERTIFICATE, 
		root_ca, sizeof(root_ca)); 
	if (ret < 0) {
		 printk("Failed to register public certificate: %d", ret); 
		 return ret; 
	}

}

/* Setup TLS options on a given socket */
int tls_setup(int fd)
{
	int err;
	int verify;
 	

	const sec_tag_t tls_sec_tag[] = {
		1
	};
	
	/* Set up TLS peer verification */
	enum {
		NONE = 0,
		OPTIONAL = 1,
		REQUIRED = 2,
	};

	verify = NONE;

	err = setsockopt(fd, SOL_TLS, TLS_PEER_VERIFY, &verify, sizeof(verify));
	if (err) {
		printk("Failed to setup peer verification, err %d\n", errno);
		return err;
	}

	/* Associate the socket with the security tag
	 * we have provisioned the certificate with.
	 */
	err = setsockopt(fd, SOL_TLS, TLS_SEC_TAG_LIST, tls_sec_tag, sizeof(tls_sec_tag));
	if (err) {
		printk("Failed to setup TLS sec tag, err %d\n", errno);
		return err;
	}

	err = setsockopt(fd, SOL_TLS, TLS_HOSTNAME,
			HTTP_HOST,
			sizeof(HTTP_HOST) - 1);
	if (err) {
		printk("Failed to setup TLS hostname, err %d\n", errno);
		return err;
	}
	return 0;
}

int sock_fd = -1;
char token[2048];
struct sockaddr_in addr;
char send_buf[2048];


static const char json_payload[] ="{"
"\"BLE_FW\": \"1\","
"\"WIFI_FW\": \"1\","
"\"Battery %\": 100,"
"\"Patient ID\": \"12345\","
"\"Patient Data\": ["
"{"
"\"Temperature\": 98.6,"
"\"Heart Rate\": 72,"
"\"Heart Rate Confidence Index\": 95,"
"\"SPIO2 Level\": 98,"
"\"SPIO2 Level Confidence Index\": 90,"
"\"SOS Alert\": 0,"
"\"Fall Detection\": 0,"
"\"Accel X\": 12345,"
"\"Accel Y\": 12345,"
"\"Accel Z\": 12345"
"}"
"]"
"}";

struct sockaddr_storage server_info;

int resolve_server(void)
{
	char peer_addr[INET_ADDRSTRLEN];

	printk("Looking up %s\n", HTTP_HOST);

	 /* Resolve hostname */
    struct addrinfo hints = { .ai_family = AF_INET };
    struct addrinfo *res;
    if (getaddrinfo(HTTP_HOST, NULL, &hints, &res) != 0) {
        LOG_ERR("DNS lookup failed");
        return -1;
    }
	// struct sockaddr_in addr;
	struct sockaddr_in *addr_in = (struct sockaddr_in *)&server_info;
    addr_in->sin_addr = ((struct sockaddr_in *)(res->ai_addr))->sin_addr;
	addr_in->sin_family = ((struct sockaddr_in *)(res->ai_addr))->sin_family;
	addr_in->sin_port = htons(HTTP_PORT);

	inet_ntop(res->ai_family, &((struct sockaddr_in *)(res->ai_addr))->sin_addr, peer_addr,
		INET_ADDRSTRLEN);
		printk("Resolved %s (%s)\n", peer_addr, net_family2str(res->ai_family));
	freeaddrinfo(res);
	return 0;
}

static void send_http_request(void)
{
	printk("Looking up %s\n", HTTP_HOST);
	resolve_server();
	send_http_token_req();
	send_patient_data();
}

static int send_http_token_req(void)
{
	int err;
	char *p;
	int bytes;
	size_t off;
	int ret = 0;
	
	// struct sockaddr_in *addr_in = (struct sockaddr_in *)&server_info;

	sock_fd = socket(AF_INET,SOCK_STREAM, IPPROTO_TLS_1_3);
	if (sock_fd == -1) {
		printk("Failed to open socket!\n");
		ret =  -1;
		goto clean_up;
	}

	/* Setup TLS socket options */
	err = tls_setup(sock_fd);
	if (err) {
		ret =  -1;
		goto clean_up;
	}

	printk("Connecting to %s:%d\n", HTTP_HOST,
	       HTTP_PORT);
	err = connect(sock_fd,(struct sockaddr *)&server_info, sizeof(struct sockaddr_in));
	if (err) {
		printk("connect() failed, err: %d\n", errno);
		ret =  -1;
		goto clean_up;
	}

	 /* Prepare x-www-form-urlencoded body */
    char body[128];
    snprintk(body, sizeof(body), "username=%s&password=%s", USERNAME, PASSWORD);

    /* Prepare POST request */
	
    snprintk(send_buf, sizeof(send_buf),
             "POST " LOGIN_PATH " HTTP/1.1\r\n"
             "Host: " HTTP_HOST "\r\n"
             "Content-Type: application/x-www-form-urlencoded\r\n"
             "Content-Length: %d\r\n"
             "Connection: close\r\n"
             "\r\n"
             "%s",
             (int)strlen(body), body);
    /* Send request */
    err = send(sock_fd, send_buf, strlen(send_buf), 0);
	if (err < 0) {
		    printk("Send failed: %d", errno);
		    close(sock_fd);
			ret =  -1;
		    return -1;
		}
    printk("POST request sent");

	off = 0;
	do {
		bytes = recv(sock_fd, &recv_buf[off], 1024, 0);
		if (bytes < 0) {
			printk("recv() failed, err %d\n", errno);
			ret =  -1;
			goto clean_up;
		}
		off += bytes;			
	} while (bytes != 0 || off>RECV_BUF_SIZE);

	printk("Received %d bytes\n", off);
	if (off < sizeof(recv_buf)) {
		recv_buf[off] = '\0';
	} else {
		recv_buf[sizeof(recv_buf) - 1] = '\0';
	}
	
	char *tok_start = strstr(recv_buf, "\"token\":\"");
	if (tok_start) {
		tok_start += strlen("\"token\":\"");
		char *tok_end = strchr(tok_start, '"');
		if (tok_end) {
			size_t tok_len = tok_end - tok_start;
			strncpy(token, tok_start, tok_len);
			token[tok_len] = '\0';
			printf("Token: %s", (token));
		}
	}
	clean_up:
	(void)close(sock_fd);
	return ret;
}

void send_patient_data()
{
	int err;
	char *p;
	int bytes;
	size_t off;
	sock_fd = socket(AF_INET, SOCK_STREAM, IPPROTO_TLS_1_3);
	if (sock_fd == -1) {
		printk("Failed to open socket!\n");
		goto clean_up;
	}

	/* Setup TLS socket options */
	err = tls_setup(sock_fd);
	if (err) {
		goto clean_up;
	}

	err = connect(sock_fd,(struct sockaddr *)&server_info, sizeof(struct sockaddr_in));
	if (err) {
		printk("connect() failed, err: %d\n", errno);
		goto clean_up;
	}

	#if 0
	printk("get Patient list data\n");
	// Build HTTP request with JSON + Bearer token
	snprintk(send_buf, sizeof(send_buf),
			"POST /api/get-patient-list-data HTTP/1.1\r\n"
			"Host: " HTTP_HOST "\r\n"
			"Authorization: Bearer %s\r\n"
			"Content-Type: application/x-www-form-urlencoded\r\n"
			"Content-Length: 0\r\n"
			"Connection: close\r\n"
			"\r\n",
			token);
	#else
		printk("get Patient list data\n");
	// Build HTTP request with JSON + Bearer token
	snprintk(send_buf, sizeof(send_buf),
			"POST /api/add-patient-clinical-data HTTP/1.1\r\n"
			"Host: " HTTP_HOST "\r\n"
			"Authorization: Bearer %s\r\n"
			"Content-Type: application/json\r\n"
			"Content-Length: %d\r\n"
			"Connection: close\r\n"
			"\r\n"
			"%s",token, strlen(json_payload),json_payload);

	#endif

	int ret = send(sock_fd, send_buf, strlen(send_buf), 0);
	if (ret < 0) {
		    printk("Send failed: %d", errno);
		    close(sock_fd);
		    return;
		}
	
	off = 0;
	do {
		bytes = recv(sock_fd, &recv_buf[off], 1024, 0);
		if (bytes < 0) {
			printk("recv() failed, err %d\n", errno);
			goto clean_up;
		}
		off += bytes;			
	} while (bytes != 0 || off>RECV_BUF_SIZE);

	printk("Received %d bytes\n", off);
	if (off < sizeof(recv_buf)) {
		recv_buf[off] = '\0';
	} else {
		recv_buf[sizeof(recv_buf) - 1] = '\0';
	}
	for (int i = 0; i < off; i++) {
		printk("%c", recv_buf[i]);
	}

	printk("Finished, closing socket.\n");

clean_up:
	(void)close(sock_fd);
}

static int response_cb(struct http_response *rsp, enum http_final_call final_data, void *user_data)
{
	/* STEP 9 - Define the callback function to print the body */
	LOG_INF("Response status: %s", rsp->http_status);

	if (rsp->body_frag_len > 0) {
		char body_buf[rsp->body_frag_len];
		strncpy(body_buf, rsp->body_frag_start, rsp->body_frag_len);
		body_buf[rsp->body_frag_len] = '\0';
		LOG_INF("Received: %s", body_buf);
		char *tok_start = strstr(body_buf, "\"token\":\"");
		if (tok_start) {
			tok_start += strlen("\"token\":\"");
			char *tok_end = strchr(tok_start, '"');
			if (tok_end) {
				size_t tok_len = tok_end - tok_start;
				strncpy(token, tok_start, tok_len);
				token[tok_len] = '\0';
				printf("Token: %s", (token));
			}
		}
	}
	LOG_INF("Closing socket: %d", sock_fd);
	close(sock_fd);
	return 0;
}

static int response_patient_cb(struct http_response *rsp, enum http_final_call final_data, void *user_data)
{
	/* STEP 9 - Define the callback function to print the body */
	LOG_INF("Response status: %s", rsp->http_status);

	if (rsp->body_frag_len > 0) {
		char body_buf[rsp->body_frag_len];
		strncpy(body_buf, rsp->body_frag_start, rsp->body_frag_len);
		body_buf[rsp->body_frag_len] = '\0';
		LOG_INF("Received: %s", body_buf);
	}
	LOG_INF("Closing socket: %d", sock_fd);
	close(sock_fd);
	return 0;
}


static int client_http_get(void)
{
	/* STEP 8 - Define the function to send a GET request to the HTTP server */

	int err;
	char *p;
	int bytes;
	size_t off;
	int ret = 0;
	// register_certificate();
	resolve_server();
	
	// struct sockaddr_in *addr_in = (struct sockaddr_in *)&server_info;

	sock_fd = socket(AF_INET,SOCK_STREAM, IPPROTO_TLS_1_3);
	if (sock_fd == -1) {
		printk("Failed to open socket!\n");
		return sock_fd;
	}

	/* Setup TLS socket options */
	err = tls_setup(sock_fd);
	if (err) {
		ret =  -1;
		return -1;
	}

	printk("Connecting to %s:%d\n", HTTP_HOST,
	       HTTP_PORT);
	err = connect(sock_fd,(struct sockaddr *)&server_info, sizeof(struct sockaddr_in));
	if (err) {
		printk("connect() failed, err: %d\n", errno);
		ret =  -1;
		return -1;
	}
	
	const char *headers[] = {"Content-Type: application/x-www-form-urlencoded\r\n","Connection: close\r\n", NULL};

	struct http_request req;
	memset(&req, 0, sizeof(req));
 	char body[128];
    snprintk(body, sizeof(body), "username=%s&password=%s", USERNAME, PASSWORD);
	req.header_fields = headers;
	req.method = HTTP_POST;
	req.url = LOGIN_PATH;
	req.host = HTTP_HOST;
	req.payload = body;
	req.payload_len = strlen(req.payload);
	req.protocol = "HTTP/1.1";
	req.response = response_cb;
	req.recv_buf = recv_buf;
	req.recv_buf_len = sizeof(recv_buf);

	LOG_INF("HTTP POST TOKEN  request");
	err = http_client_req(sock_fd, &req, 5000, NULL);
	if (err < 0) {
		LOG_ERR("Failed to send HTTP POST request, err: %d", err);
	}

	return err;
}



static int client_http_post_data(void)
{
	/* STEP 8 - Define the function to send a GET request to the HTTP server */

	int err;
	char *p;
	int bytes;
	size_t off;
	int ret = 0;
	// register_certificate();
	resolve_server();
	
	// struct sockaddr_in *addr_in = (struct sockaddr_in *)&server_info;

	sock_fd = socket(AF_INET,SOCK_STREAM, IPPROTO_TLS_1_3);
	if (sock_fd == -1) {
		printk("Failed to open socket!\n");
		return sock_fd;
	}

	/* Setup TLS socket options */
	err = tls_setup(sock_fd);
	if (err) {
		ret =  -1;
		return -1;
	}

	printk("Connecting to %s:%d\n", HTTP_HOST,
	       HTTP_PORT);
	err = connect(sock_fd,(struct sockaddr *)&server_info, sizeof(struct sockaddr_in));
	if (err) {
		printk("connect() failed, err: %d\n", errno);
		ret =  -1;
		return -1;
	}
	
	char auth_buf[1500];
	sprintf(auth_buf,"Authorization: Bearer %s\r\n",token);
	const char *headers[] = {"Content-Type: application/json\r\n",auth_buf,"Connection: close\r\n", NULL};

	struct http_request req;
	memset(&req, 0, sizeof(req));
 	
	req.header_fields = headers;
	req.method = HTTP_POST;
	req.url = "/api/add-patient-clinical-data";
	req.host = HTTP_HOST;
	req.payload = json_payload;
	req.payload_len = strlen(req.payload);
	req.protocol = "HTTP/1.1";
	req.response = response_patient_cb;
	req.recv_buf = recv_buf;
	req.recv_buf_len = sizeof(recv_buf);

	LOG_INF("HTTP POST TOKEN  request");
	err = http_client_req(sock_fd, &req, 5000, NULL);
	if (err < 0) {
		LOG_ERR("Failed to send HTTP POST request, err: %d", err);
	}

	return err;
}
```
